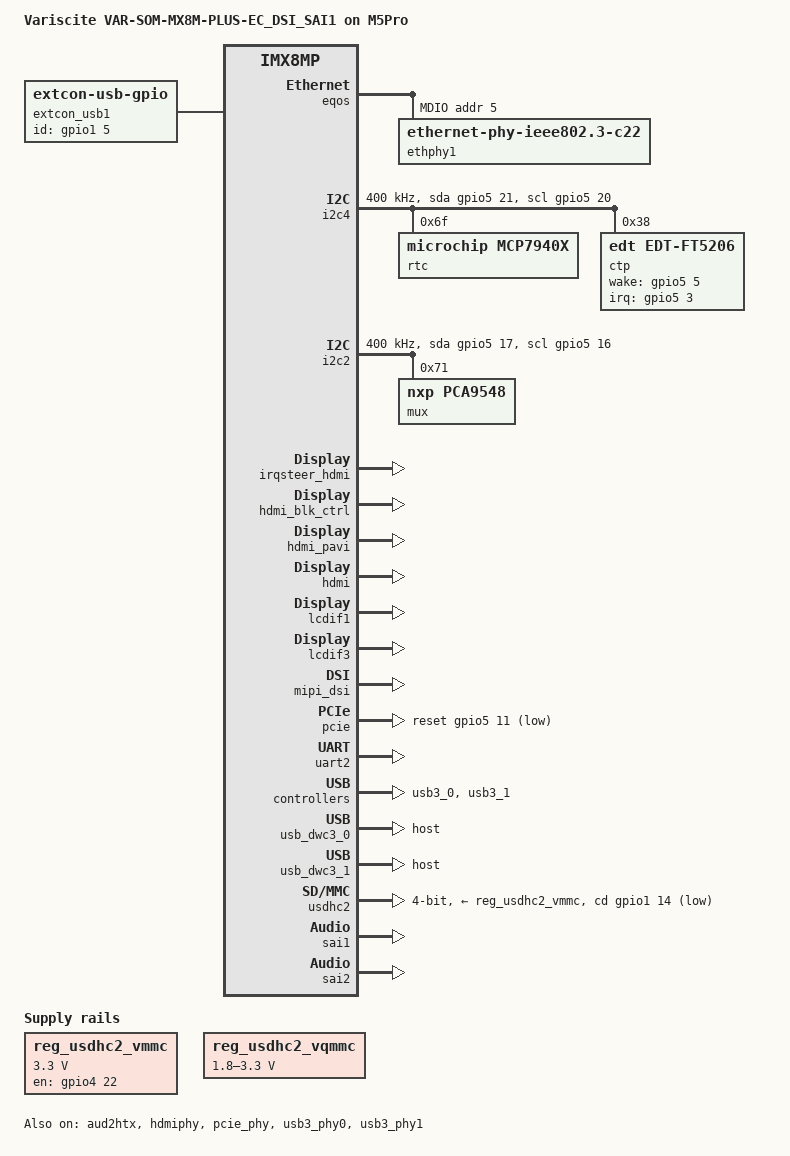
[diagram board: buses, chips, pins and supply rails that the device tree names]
// SPDX-License-Identifier: (GPL-2.0+ OR MIT)
/*
 * Copyright 2019 NXP
 * Copyright 2020-2021 Variscite Ltd.
 */

 #include <dt-bindings/mux/mux.h>
 #include "imx8mp-var-som-ec_dsi_sai1.dtsi"

/ {
	model = "Variscite VAR-SOM-MX8M-PLUS-EC_DSI_SAI1 on M5Pro";

	chosen {
		stdout-path = &uart2;
	};

	reg_usdhc2_vmmc: regulator-usdhc2-vmmc {
		compatible = "regulator-fixed";
		regulator-name = "VSD_3V3";
		regulator-min-microvolt = <3300000>;
		regulator-max-microvolt = <3300000>;
		gpio = <&gpio4 22 GPIO_ACTIVE_HIGH>;
		enable-active-high;
		startup-delay-us = <100>;
		off-on-delay-us = <12000>;
	};

	reg_usdhc2_vqmmc: regulator-usdhc2-vqmmc {
		compatible = "regulator-gpio";
		regulator-name = "VSD_VSEL";
		regulator-min-microvolt = <1800000>;
		regulator-max-microvolt = <3300000>;
		gpio = <&gpio2 12 GPIO_ACTIVE_HIGH>;
		gpios-states = <1>;
		states = <3300000 0
			  1800000 1>;
	};

	sound_hdmi: sound_hdmi {
		compatible = "fsl,imx-audio-cdnhdmi";
		model = "audio-hdmi";
		audio-cpu = <&aud2htx>;
		hdmi-out;
		constraint-rate = <44100>,
				<88200>,
				<176400>,
				<32000>,
				<48000>,
				<96000>,
				<192000>;
		status = "okay";
	};

	dummy_codec1: dummy-codec1 {
		#sound-dai-cells = <0>;
		compatible = "linux,dummy-codec";
		//compatible = "linux,snd-soc-dummy";
		status = "okay";
	};

	dummy_codec2: dummy-codec2 {
		#sound-dai-cells = <0>;
		compatible = "linux,dummy-codec";
		//compatible = "linux,snd-soc-dummy";
		status = "okay";
	};

	sound-dummy-1 {
		compatible = "simple-audio-card";
		simple-audio-card,bitclock-master = <&dailink_master_1>;
		simple-audio-card,format = "i2s";
		simple-audio-card,frame-master = <&dailink_master_1>;
		simple-audio-card,name = "dummy-audio-1";

		simple-audio-card,codec {
			sound-dai = <&dummy_codec1>;
		};

		dailink_master_1: simple-audio-card,cpu {
			sound-dai = <&sai1>;
			dai-tdm-slot-num = <2>;
			dai-tdm-slot-width = <32>;
		};
	};

	sound-dummy-2 {
		compatible = "simple-audio-card";
		simple-audio-card,bitclock-master = <&dailink_master_2>;
		simple-audio-card,format = "i2s";
		simple-audio-card,frame-master = <&dailink_master_2>;
		simple-audio-card,name = "dummy-audio-2";

		simple-audio-card,codec {
			sound-dai = <&dummy_codec2>;
		};

		dailink_master_2: simple-audio-card,cpu {
			sound-dai = <&sai2>;
			dai-tdm-slot-num = <2>;
			dai-tdm-slot-width = <32>;
		};
	};

	extcon_usb1: extcon_usb1 {
		compatible = "linux,extcon-usb-gpio";
		pinctrl-names = "default";
		pinctrl-0 = <&pinctrl_extcon>;
		id-gpio = <&gpio1 5 GPIO_ACTIVE_HIGH>;
		status = "okay";
	};

//	parallel_panel {
//		compatible = "panel-dpi";
//		port {
//			panel_out_bridge: endpoint {
//				remote-endpoint = <&bridge_out_panel>;
//			};
//		};
//		panel-timing {
//			clock-frequency = <31250000>;
//			hactive = <800>;
//			vactive = <480>;
//			hfront-porch = <40>;
//			hback-porch = <86>;
//			hsync-len = <1>;
//			vback-porch = <30>;
//			vfront-porch = <13>;
//			vsync-len = <3>;
//
//			hsync-active = <0>;
//			vsync-active = <0>;
//			de-active = <1>;
//			pixelclk-active = <1>;
//		};
//	};
};

&aud2htx {
	status = "okay";
};

&eqos {
	mdio {
		ethphy1: ethernet-phy@5 {
			compatible = "ethernet-phy-ieee802.3-c22";
			reg = <5>;
			at803x,eee-disabled;
			at803x,vddio-1p8v;
			eee-broken-1000t;
		};
	};
};

//&mipi_dsi {
//		status = "okay";
//
//		port@1 {
//			dsi_out_bridge: endpoint {
//			remote-endpoint = <&bridge_in_dsi>;
//			attach-bridge;
//		};
//	};
//};

&i2c4 {
	clock-frequency = <400000>;
	pinctrl-names = "default";
	pinctrl-0 = <&pinctrl_i2c4>;
	scl-gpios = <&gpio5 20 (GPIO_ACTIVE_HIGH|GPIO_OPEN_DRAIN)>;
	sda-gpios = <&gpio5 21 (GPIO_ACTIVE_HIGH|GPIO_OPEN_DRAIN)>;
	status = "okay";

	/* mcp7940x RTC module */
	rtc@6f {
		compatible = "microchip,mcp7940x";
		microchip,clock-output = <32768>;
		reg = <0x6f>;
		status = "okay";
	};

//	/* Capacitive touch controller */
	ctp: ctp@38 {
		compatible = "edt,edt-ft5206";
		reg = <0x38>;
		pinctrl-names = "default";
		pinctrl-0 = <&pinctrl_ctp>;
		interrupt-parent = <&gpio5>;
		interrupts = <3 IRQ_TYPE_EDGE_FALLING>;
		wake-gpios = <&gpio5 5 GPIO_ACTIVE_HIGH>;
		touchscreen-size-x = <800>;
		touchscreen-size-y = <480>;
		touchscreen-inverted-x;
		touchscreen-inverted-y;
		wakeup-source;
		status = "okay";
	};

//	icn6211@2c {
//		compatible = "chipone,icn6211";
//		reg = <0x2c>;
//		enable-gpios = <&gpio5 27 GPIO_ACTIVE_HIGH>; /* LCD-RST: icn6211 pin 11 */
//		pinctrl-0 = <&pinctrl_icn6211>;
//		status = "okay";
//		ports {
//			#address-cells = <1>;
//			#size-cells = <0>;
//			port@0 {
//				reg = <0>;
//				bridge_in_dsi: endpoint {
//					remote-endpoint = <&dsi_out_bridge>;
//				};
//			};
//			port@1 {
//				reg = <1>;
//				bridge_out_panel: endpoint {
//					remote-endpoint = <&panel_out_bridge>;
//				};
//			};
//		};
//	};

	pi6cfgl601b@69 {
		compatible = "dummy";
		reg = <0x69>;
		status = "okay";
	};
};

&i2c2 {
	clock-frequency = <400000>;
	pinctrl-names = "default";
	pinctrl-0 = <&pinctrl_i2c2>;
	scl-gpios = <&gpio5 16 (GPIO_ACTIVE_HIGH|GPIO_OPEN_DRAIN)>;
	sda-gpios = <&gpio5 17 (GPIO_ACTIVE_HIGH|GPIO_OPEN_DRAIN)>;
	status = "okay";

	mfi@10 {
		compatible = "dummy";
		reg = <0x10>;
		status = "okay";
	};

	mux@71 {
		compatible = "nxp,pca9548";
		reg = <0x71>;
		#address-cells = <1>;
		#size-cells = <0>;
		idle-state =  <MUX_IDLE_AS_IS>;

		i2c@0 {
			#address-cells = <1>;
			#size-cells = <0>;
			reg = <0>;

			o1_es9033: es9033@48 {
				compatible = "dummy";
				reg = <0x48>;
				status = "okay";
			};

			o1_es9033_sync: es9033@4c {  // before es9033 has clock initialized, _sync address must be used for write-only initialization of clock registers
				compatible = "dummy";
				reg = <0x4c>;
				status = "okay";
			};

			o1_src4392: src4392@70 {
				compatible = "dummy";
				reg = <0x70>;
				status = "okay";
			};
		};

		i2c@1 {
			#address-cells = <1>;
			#size-cells = <0>;
			reg = <1>;

			o2_es9033: es9033@48 {
				compatible = "dummy";
				reg = <0x48>;
				status = "okay";
			};

			o2_es9033_sync: es9033@4c {  // before es9033 has clock initialized, _sync address must be used for write-only initialization of clock registers
				compatible = "dummy";
				reg = <0x4c>;
				status = "okay";
			};

			o2_src4392: src4392@70 {
				compatible = "dummy";
				reg = <0x70>;
				status = "okay";
			};
		};

		i2c@2 {
			#address-cells = <1>;
			#size-cells = <0>;
			reg = <2>;

			o3_es9033: es9033@48 {
				compatible = "dummy";
				reg = <0x48>;
				status = "okay";
			};

			o3_es9033_sync: es9033@4c {  // before es9033 has clock initialized, _sync address must be used for write-only initialization of clock registers
				compatible = "dummy";
				reg = <0x4c>;
				status = "okay";
			};

			o3_src4392: src4392@70 {
				compatible = "dummy";
				reg = <0x70>;
				status = "okay";
			};
		};

		i2c@3 {
			#address-cells = <1>;
			#size-cells = <0>;
			reg = <3>;

			o4_es9033: es9033@48 {
				compatible = "dummy";
				reg = <0x48>;
				status = "okay";
			};

			o4_es9033_sync: es9033@4c {  // before es9033 has clock initialized, _sync address must be used for write-only initialization of clock registers
				compatible = "dummy";
				reg = <0x4c>;
				status = "okay";
			};

			o4_src4392: src4392@70 {
				compatible = "dummy";
				reg = <0x70>;
				status = "okay";
			};
		};

		i2c@4 {
			#address-cells = <1>;
			#size-cells = <0>;
			reg = <4>;

			o5_es9033: es9033@48 {
				compatible = "dummy";
				reg = <0x48>;
				status = "okay";
			};

			o5_es9033_sync: es9033@4c {  // before es9033 has clock initialized, _sync address must be used for write-only initialization of clock registers
				compatible = "dummy";
				reg = <0x4c>;
				status = "okay";
			};

			o5_src4392: src4392@70 {
				compatible = "dummy";
				reg = <0x70>;
				status = "okay";
			};
		};

		i2c@5 {
			#address-cells = <1>;
			#size-cells = <0>;
			reg = <5>;

			i1_es9820: es9820@20 {
				compatible = "dummy";
				reg = <0x20>;
				status = "okay";
			};

			i1_es9820_sync: es9820@24 {  // before es9820 has clock initialized, _sync address must be used for write-only initialization of clock registers
				compatible = "dummy";
				reg = <0x24>;
				status = "okay";
			};

			i2_es9820: es9820@21 {
				compatible = "dummy";
				reg = <0x21>;
				status = "okay";
			};

			i2_es9820_sync: es9820@25 {  // before es9820 has clock initialized, _sync address must be used for write-only initialization of clock registers
				compatible = "dummy";
				reg = <0x25>;
				status = "okay";
			};
		};

		i2c@6 {
			#address-cells = <1>;
			#size-cells = <0>;
			reg = <6>;

			i3_src4392: src4392@70 {
				compatible = "dummy";
				reg = <0x70>;
				status = "okay";
			};
		};

		i2c@7 {
			#address-cells = <1>;
			#size-cells = <0>;
			reg = <7>;

			i4_src4392: src4392@70 {
				compatible = "dummy";
				reg = <0x70>;
				status = "okay";
			};
		};
	};
};

&irqsteer_hdmi {
	status = "okay";
};

&hdmi_blk_ctrl {
	status = "okay";
};

&hdmi_pavi {
	status = "okay";
};

&hdmi {
	status = "okay";
};

&hdmiphy {
	status = "okay";
};

/* MIPI-DSI */
&lcdif1 {
	status = "okay";
};

/* HDMI */
&lcdif3 {
	status = "okay";
	thres-low  = <1 2>;	/* (FIFO * 1 / 2) */
	thres-high = <3 4>;	/* (FIFO * 3 / 4) */
};

&mipi_dsi {
	status = "okay";
};

&pcie {
	pinctrl-names = "default";
	pinctrl-0 = <&pinctrl_pcie>;
	reset-gpio = <&gpio5 11 GPIO_ACTIVE_LOW>;
	ext_osc = <1>;
	clocks = <&clk IMX8MP_CLK_HSIO_ROOT>,
		 <&clk IMX8MP_CLK_PCIE_AUX>,
		 <&clk IMX8MP_CLK_HSIO_AXI>,
		 <&clk IMX8MP_CLK_PCIE_ROOT>;
	clock-names = "pcie", "pcie_aux", "pcie_phy", "pcie_bus";
	assigned-clocks = <&clk IMX8MP_CLK_HSIO_AXI>,
			  <&clk IMX8MP_CLK_PCIE_AUX>;
	assigned-clock-rates = <500000000>, <10000000>;
	assigned-clock-parents = <&clk IMX8MP_SYS_PLL2_500M>,
				 <&clk IMX8MP_SYS_PLL2_50M>;
	l1ss-disabled;
	status = "okay";
};

&pcie_ep {
	pinctrl-names = "default";
	pinctrl-0 = <&pinctrl_pcie>;
	ext_osc = <1>;
	clocks = <&clk IMX8MP_CLK_HSIO_ROOT>,
		 <&clk IMX8MP_CLK_PCIE_AUX>,
		 <&clk IMX8MP_CLK_HSIO_AXI>,
		 <&clk IMX8MP_CLK_PCIE_ROOT>;
	clock-names = "pcie", "pcie_aux", "pcie_phy", "pcie_bus";
	assigned-clocks = <&clk IMX8MP_CLK_HSIO_AXI>,
			  <&clk IMX8MP_CLK_PCIE_AUX>;
	assigned-clock-rates = <500000000>, <10000000>;
	assigned-clock-parents = <&clk IMX8MP_SYS_PLL2_500M>,
				 <&clk IMX8MP_SYS_PLL2_50M>;
	status = "disabled";
};

&pcie_phy {
	ext_osc = <1>;
	status = "okay";
};

/* Console */
&uart2 {
	pinctrl-names = "default";
	pinctrl-0 = <&pinctrl_uart2>;
	status = "okay";
};

&usb3_phy0 {
//	fsl,phy-tx-vref-tune = <0xe>;
//	fsl,phy-tx-preemp-amp-tune = <3>;
//	fsl,phy-tx-vboost-level = <5>;
//	fsl,phy-comp-dis-tune = <7>;
//	fsl,pcs-tx-deemph-3p5db = <0x21>;
//	fsl,phy-pcs-tx-swing-full = <0x7f>;
	status = "okay";
};

&usb3_0 {
	status = "okay";
};

&usb_dwc3_0 {
	dr_mode = "host";
//	dr_mode = "otg";
//	hnp-disable;
//	srp-disable;
//	adp-disable;
	extcon = <&extcon_usb1>;
	status = "okay";
};

&usb3_phy1 {
//	fsl,phy-tx-preemp-amp-tune = <3>;
//	fsl,phy-tx-vref-tune = <0xb>;
	status = "okay";
};

&usb3_1 {
	status = "okay";
};

&usb_dwc3_1 {
	dr_mode = "host";
	status = "okay";
};

&usdhc2 {
	pinctrl-names = "default", "state_100mhz", "state_200mhz";
	pinctrl-0 = <&pinctrl_usdhc2>, <&pinctrl_usdhc2_gpio>;
	pinctrl-1 = <&pinctrl_usdhc2_100mhz>, <&pinctrl_usdhc2_gpio>;
	pinctrl-2 = <&pinctrl_usdhc2_200mhz>, <&pinctrl_usdhc2_gpio>;
	cd-gpios = <&gpio1 14 GPIO_ACTIVE_LOW>;
	vmmc-supply = <&reg_usdhc2_vmmc>;
	vqmmc-supply = <&reg_usdhc2_vqmmc>;
	bus-width = <4>;
	status = "okay";
};

&sai1 {
	#sound-dai-cells = <0>;
	pinctrl-names = "default";
	pinctrl-0 = <&pinctrl_sai1>;
	assigned-clocks = <&clk IMX8MP_CLK_SAI1>;
	assigned-clock-parents = <&clk IMX8MP_AUDIO_PLL1_OUT>;
	assigned-clock-rates = <24576000>;
	clocks = 
		 <&audio_blk_ctrl IMX8MP_CLK_AUDIO_BLK_CTRL_SAI1_IPG>, 
		 <&clk IMX8MP_CLK_DUMMY>,
		 <&audio_blk_ctrl IMX8MP_CLK_AUDIO_BLK_CTRL_SAI1_MCLK1>, 
		 <&clk IMX8MP_CLK_DUMMY>,
		 <&clk IMX8MP_CLK_DUMMY>,
		 <&clk IMX8MP_AUDIO_PLL1_OUT>,
		 <&clk IMX8MP_AUDIO_PLL2_OUT>;
	clock-names = "bus", "mclk0", "mclk1", "mclk2", "mclk3", "pll8k", "pll11k";
	fsl,sai-asynchronous;
	fsl,sai-multi-lane;
	fsl,dataline = <0 0xff 0xff>;
	dmas = <&sdma2 0 25 0>, <&sdma2 1 25 0>;
	status = "okay";
};

&sai2 {
	#sound-dai-cells = <0>;
	pinctrl-names = "default";
	pinctrl-0 = <&pinctrl_sai2>;
	assigned-clocks = <&clk IMX8MP_CLK_SAI2>;
	assigned-clock-parents = <&clk IMX8MP_AUDIO_PLL1_OUT>;
	assigned-clock-rates = <24576000>;
	clocks = 
		 <&audio_blk_ctrl IMX8MP_CLK_AUDIO_BLK_CTRL_SAI2_IPG>, 
		 <&clk IMX8MP_CLK_DUMMY>,
		 <&clk IMX8MP_CLK_DUMMY>,
		 <&audio_blk_ctrl IMX8MP_CLK_AUDIO_BLK_CTRL_SAI2_MCLK1>, 
		 <&clk IMX8MP_CLK_DUMMY>,
		 <&clk IMX8MP_AUDIO_PLL1_OUT>,
		 <&clk IMX8MP_AUDIO_PLL2_OUT>;
	clock-names = "bus", "mclk0", "mclk1", "mclk2", "mclk3", "pll8k", "pll11k";
	fsl,sai-asynchronous;
	status = "okay";
};

&gpio1 {
	gpio-line-names = 
		"",                      // 000 GPIO1_IO00
		"",                      // 001 GPIO1_IO01
		"WDOG_B",                // 002 GPIO1_IO02
		"",                      // 003 GPIO1_IO03
		"",                      // 004 GPIO1_IO04
		"",                      // 005 GPIO1_IO05
		"",                      // 006 GPIO1_IO06
		"",                      // 007 GPIO1_IO07
		"",                      // 008 GPIO1_IO08
		"",                      // 009 GPIO1_IO09
		"EQOS_RESET",            // 010 GPIO1_IO10
		"factory_n",             // 011 GPIO1_IO11 (pin 69)
		"",                      // 012 GPIO1_IO12
		"",                      // 013 GPIO1_IO13
		"USDHC2_CD",             // 014 GPIO1_IO14 (pin 80)
		"SDRESET_N",             // 015 GPIO1_IO15 (pin 29)
		"ENET_MDC",              // 016 GPIO1_IO16 (pin 74)
		"ENET_MDIO" ,            // 017 GPIO1_IO17 (pin 30)
		"ENET_TD3",              // 018 GPIO1_IO18
		"ENET_TD2",              // 019 GPIO1_IO19
		"ENET_TD1",              // 020 GPIO1_IO20
		"ENET_TD0",              // 021 GPIO1_IO21
		"ENET_TX_CTL",           // 022 GPIO1_IO22
		"ENET_TX_CLK",           // 023 GPIO1_IO23
		"ENET_RX_CTL",           // 024 GPIO1_IO24
		"ENET_RX_CLK",           // 025 GPIO1_IO25
		"ENET_RD0",              // 026 GPIO1_IO26
		"ENET_RD1",              // 027 GPIO1_IO27
		"ENET_RD2",              // 028 GPIO1_IO28
		"ENET_RD3",              // 029 GPIO1_IO29
		"",                      // 030 GPIO1_IO30
		"";                      // 031 GPIO1_IO31
};
&gpio2 {
	gpio-line-names = 
		"",                      // 032 GPIO2_IO00
		"",                      // 033 GPIO2_IO01
		"",                      // 034 GPIO2_IO02
		"",                      // 035 GPIO2_IO03
		"",                      // 036 GPIO2_IO04
		"",                      // 037 GPIO2_IO05
		"",                      // 038 GPIO2_IO06
		"",                      // 039 GPIO2_IO07
		"",                      // 040 GPIO2_IO08
		"",                      // 041 GPIO2_IO09
		"",                      // 042 GPIO2_IO10
		"",                      // 043 GPIO2_IO11
		"",                      // 044 GPIO2_IO12
		"USDHC2_CLK",            // 045 GPIO2_IO13 (pin 60)
		"USDHC2_CMD",            // 046 GPIO2_IO14 (pin 64)
		"USDHC2_D0",             // 047 GPIO2_IO15 (pin 62)
		"USDHC2_D1",             // 048 GPIO2_IO16 (pin 63)
		"USDHC2_D2",             // 049 GPIO2_IO17 (pin 61)
		"USDHC2_D3",             // 050 GPIO2_IO18 (pin 65)
		"",                      // 051 GPIO2_IO19
		"REG_EQOS",              // 052 GPIO2_IO20
		"",                      // 053 GPIO2_IO21
		"",                      // 054 GPIO2_IO22
		"",                      // 055 GPIO2_IO23
		"",                      // 056 GPIO2_IO24
		"",                      // 057 GPIO2_IO25
		"",                      // 058 GPIO2_IO26
		"",                      // 059 GPIO2_IO27
		"",                      // 060 GPIO2_IO28
		"",                      // 061 GPIO2_IO29
		"",                      // 062 GPIO2_IO30
		"";                      // 063 GPIO2_IO31
};
&gpio3 {
	gpio-line-names = 
		"",                      // 064 GPIO3_IO00
		"",                      // 065 GPIO3_IO01
		"USDHC3_STR",            // 066 GPIO3_IO02
		"USDHC3_D5",             // 067 GPIO3_IO03
		"USDHC3_D6",             // 068 GPIO3_IO04
		"USDHC3_D7",             // 069 GPIO3_IO05
		"",                      // 070 GPIO3_IO06 (pin 84)
		"",                      // 071 GPIO3_IO07
		"",                      // 072 GPIO3_IO08
		"",                      // 073 GPIO3_IO09
		"USDHC3_D0",             // 074 GPIO3_IO10
		"USDHC3_D1",             // 075 GPIO3_IO11
		"USDHC3_D2",             // 076 GPIO3_IO12
		"USDHC3_D3",             // 077 GPIO3_IO13
		"",                      // 078 GPIO3_IO14 (pin 79)
		"USDHC3_D4",             // 079 GPIO3_IO15
		"",                      // 080 GPIO3_IO16
		"USDHC3_CLK",            // 081 GPIO3_IO17
		"USDHC3_CMD",            // 082 GPIO3_IO18
		"",                      // 083 GPIO3_IO19
		"",                      // 084 GPIO3_IO20
		"",                      // 085 GPIO3_IO21
		"",                      // 086 GPIO3_IO22
		"",                      // 087 GPIO3_IO23
		"",                      // 088 GPIO3_IO24
		"",                      // 089 GPIO3_IO25
		"HDMI_SCL",              // 090 GPIO3_IO26 (pin 174)
		"HDMI_SDA",              // 091 GPIO3_IO27 (pin 176)
		"HDMI_CEC",              // 092 GPIO3_IO28 (pin 156)
		"HDMI_HPD",              // 093 GPIO3_IO29 (pin 154)
		"",                      // 094 GPIO3_IO30
		"";                      // 095 GPIO3_IO31
};
&gpio4 {
	gpio-line-names= 
		"SAI1_RX_SYNC",          // 096 GPIO4_IO00 (pin 82)
		"SAI1_RX_BCLK",          // 097 GPIO4_IO01 (pin 86)
		"SAI1_RX_D00",           // 098 GPIO4_IO02 (pin 70)
		"SAI1_RX_D01",           // 099 GPIO4_IO03 (pin 117)
		"SAI1_RX_D02",           // 100 GPIO4_IO04 (pin 72)
		"SAI1_RX_D03",           // 101 GPIO4_IO05 (pin 75)
		"",                      // 102 GPIO4_IO06 (pin 122)
		"",                      // 103 GPIO4_IO07 (pin 81)
		"",                      // 104 GPIO4_IO08 (pin 71)
		"",                      // 105 GPIO4_IO09 (pin 54)
		"SAI1_TX_SYNC",          // 106 GPIO4_IO10 (pin 120)
		"SAI1_TX_BCLK",          // 107 GPIO4_IO11 (pin 57)
		"SAI1_TX_D00",           // 108 GPIO4_IO12 (pin 73)
		"SAI1_TX_D01",           // 109 GPIO4_IO13 (pin 177)
		"SAI1_TX_D02",           // 110 GPIO4_IO14 (pin 56)
		"SAI1_TX_D03",           // 111 GPIO4_IO15 (pin 55)
		"SAI1_TX_D04",           // 112 GPIO4_IO16 (pin 113)
		"",                      // 113 GPIO4_IO17 (pin 96)
		"",                      // 114 GPIO4_IO18 (pin 77)
		"",                      // 115 GPIO4_IO19 (pin 173)
		"SAI1_MCLK",             // 116 GPIO4_IO20 (pin 40)
		"",                      // 117 GPIO4_IO21 (pin 23)
		"",                      // 118 GPIO4_IO22 (pin 22)
		"",                      // 119 GPIO4_IO23 (pin 21)
		"SAI2_TX_SYNC",          // 120 GPIO4_IO24 (pin 24)
		"SAI2_TX_BCLK",          // 121 GPIO4_IO25 (pin 25)
		"SAI2_TX_D00",           // 122 GPIO4_IO26 (pin 26)
		"SAI2_MCLK",             // 123 GPIO4_IO27 (pin 48)
		"trigin1_n",             // 124 GPIO4_IO28 (pin 196)
		"trigin2_n",             // 125 GPIO4_IO29 (pin 197)
		"trigin3_n",             // 126 GPIO4_IO30 (pin 198)
		"trigin4_n";             // 127 GPIO4_IO31 (pin 199)
};
&gpio5 {
	gpio-line-names = 
		"trigout1",              // 128 GPIO5_IO00 (pin 200)
		"trigout2",              // 129 GPIO5_IO01 (pin 18)
		"trigout3",              // 130 GPIO5_IO02 (pin 20)
		"CTPINT",                // 131 GPIO5_IO03 (pin 68)
		"PMIC_INT",              // 132 GPIO5_IO04
		"CTPWAKE",               // 133 GPIO5_IO05 (pin 17)
		"hwid0",                 // 134 GPIO5_IO06 (pin 53)
		"hwid1",                 // 135 GPIO5_IO07 (pin 52)
		"hwid2",                 // 136 GPIO5_IO08 (pin 50)
		"hwid3",                 // 137 GPIO5_IO09 (pin 51)
		"swoff",                 // 138 GPIO5_IO10 (pin 43)
		"PCIERST_N",             // 139 GPIO5_IO11 (pin 45)
		"bootcompl",             // 140 GPIO5_IO12 (pin 41)
		"pwrled",                // 141 GPIO5_IO13 (pin 39)
		"I2C1_SCL",              // 142 GPIO5_IO14 (pin 189)
		"I2C1_SDA",              // 143 GPIO5_IO15 (pin 187)
		"I2C2_SCL",              // 144 GPIO5_IO16 (pin 193)
		"I2C2_SDA",              // 145 GPIO5_IO17 (pin 191)
		"",                      // 146 GPIO5_IO18 (pin 88)
		"",                      // 147 GPIO5_IO19 (pin 87)
		"I2C4_SCL",              // 148 GPIO5_IO20 (pin 92)
		"I2C4_SDA",              // 149 GPIO5_IO21 (pin 90)
		"hwrev0",                // 150 GPIO5_IO22 (pin 175)
		"hwrev1",                // 151 GPIO5_IO23 (pin 124)
		"UART2_RX",              // 152 GPIO5_IO24 (pin 83)
		"UART2_TX",              // 153 GPIO5_IO25 (pin 85)
		"pwroff",                // 154 GPIO5_IO26 (pin 44)
		"ICN6211_EN",            // 155 GPIO5_IO27 (pin 46)
		"trigout4",              // 156 GPIO5_IO28 (pin 115)
		"trigout5",              // 157 GPIO5_IO29 (pin 171)
		"",                      // 158 GPIO5_IO30
		"";                      // 159 GPIO5_IO31
};

&iomuxc {
	pinctrl-names = "default";
	pinctrl-0 = <&pinctrl_hog>;

	pinctrl_hog: hoggrp {
		fsl,pins = <
			MX8MP_IOMUXC_HDMI_DDC_SCL__HDMIMIX_HDMI_SCL			0x400001c2
			MX8MP_IOMUXC_HDMI_DDC_SDA__HDMIMIX_HDMI_SDA			0x400001c2
			MX8MP_IOMUXC_HDMI_HPD__HDMIMIX_HDMI_HPD				0x40000010
			MX8MP_IOMUXC_HDMI_CEC__HDMIMIX_HDMI_CEC				0x40000010


			MX8MP_IOMUXC_GPIO1_IO11__GPIO1_IO11					0x00

			MX8MP_IOMUXC_SAI3_RXFS__GPIO4_IO28					0x00
			MX8MP_IOMUXC_SAI3_RXC__GPIO4_IO29					0x00
			MX8MP_IOMUXC_SAI3_RXD__GPIO4_IO30					0x00
			MX8MP_IOMUXC_SAI3_TXFS__GPIO4_IO31					0x00

			MX8MP_IOMUXC_SAI3_TXC__GPIO5_IO00					0xc6
			MX8MP_IOMUXC_SAI3_TXD__GPIO5_IO01					0xc6
			MX8MP_IOMUXC_SAI3_MCLK__GPIO5_IO02					0xc6
			MX8MP_IOMUXC_ECSPI1_SCLK__GPIO5_IO06				0x00
			MX8MP_IOMUXC_ECSPI1_MOSI__GPIO5_IO07				0x00
			MX8MP_IOMUXC_ECSPI1_MISO__GPIO5_IO08				0x00
			MX8MP_IOMUXC_ECSPI1_SS0__GPIO5_IO09					0x00
			MX8MP_IOMUXC_ECSPI2_SCLK__GPIO5_IO10				0x00
			MX8MP_IOMUXC_ECSPI2_MISO__GPIO5_IO12				0xc6
			MX8MP_IOMUXC_ECSPI2_SS0__GPIO5_IO13					0xc6
			MX8MP_IOMUXC_UART1_RXD__GPIO5_IO22					0x00
			MX8MP_IOMUXC_UART1_TXD__GPIO5_IO23					0x00
			MX8MP_IOMUXC_UART4_RXD__GPIO5_IO28					0xc6
			MX8MP_IOMUXC_UART4_TXD__GPIO5_IO29					0xc6

			MX8MP_IOMUXC_I2C3_SCL__GPIO5_IO18					0x1c2
			MX8MP_IOMUXC_I2C3_SDA__GPIO5_IO19					0x1c2
		>;
	};

	pinctrl_i2c4: i2c4grp {
		fsl,pins = <
			MX8MP_IOMUXC_I2C4_SCL__I2C4_SCL						0x400001c2
			MX8MP_IOMUXC_I2C4_SDA__I2C4_SDA						0x400001c2
		>;
	};

	pinctrl_i2c2: i2c2grp {
		fsl,pins = <
			MX8MP_IOMUXC_I2C2_SCL__I2C2_SCL						0x400001c2
			MX8MP_IOMUXC_I2C2_SDA__I2C2_SDA						0x400001c2
		>;
	};

	pinctrl_uart2: uart2grp {
		fsl,pins = <
			MX8MP_IOMUXC_UART2_RXD__UART2_DCE_RX				0x40
			MX8MP_IOMUXC_UART2_TXD__UART2_DCE_TX				0x40
		>;
	};

	pinctrl_usdhc2_gpio: usdhc2grp-gpio {
		fsl,pins = <
			MX8MP_IOMUXC_GPIO1_IO14__GPIO1_IO14 				0x1c4
			MX8MP_IOMUXC_GPIO1_IO15__GPIO1_IO15					0x10
			MX8MP_IOMUXC_SD2_CD_B__GPIO2_IO12					0xc0
		>;
	};

	pinctrl_usdhc2: usdhc2grp {
		fsl,pins = <
			MX8MP_IOMUXC_SD2_CLK__USDHC2_CLK					0x190
			MX8MP_IOMUXC_SD2_CMD__USDHC2_CMD					0x1d0
			MX8MP_IOMUXC_SD2_DATA0__USDHC2_DATA0				0x1d0
			MX8MP_IOMUXC_SD2_DATA1__USDHC2_DATA1				0x1d0
			MX8MP_IOMUXC_SD2_DATA2__USDHC2_DATA2				0x1d0
			MX8MP_IOMUXC_SD2_DATA3__USDHC2_DATA3				0x1d0
		>;
	};

	pinctrl_usdhc2_100mhz: usdhc2grp-100mhz {
		fsl,pins = <
			MX8MP_IOMUXC_SD2_CLK__USDHC2_CLK					0x194
			MX8MP_IOMUXC_SD2_CMD__USDHC2_CMD					0x1d4
			MX8MP_IOMUXC_SD2_DATA0__USDHC2_DATA0				0x1d4
			MX8MP_IOMUXC_SD2_DATA1__USDHC2_DATA1				0x1d4
			MX8MP_IOMUXC_SD2_DATA2__USDHC2_DATA2				0x1d4
			MX8MP_IOMUXC_SD2_DATA3__USDHC2_DATA3				0x1d4
		>;
	};

	pinctrl_usdhc2_200mhz: usdhc2grp-200mhz {
		fsl,pins = <
			MX8MP_IOMUXC_SD2_CLK__USDHC2_CLK					0x196
			MX8MP_IOMUXC_SD2_CMD__USDHC2_CMD					0x1d6
			MX8MP_IOMUXC_SD2_DATA0__USDHC2_DATA0				0x1d6
			MX8MP_IOMUXC_SD2_DATA1__USDHC2_DATA1				0x1d6
			MX8MP_IOMUXC_SD2_DATA2__USDHC2_DATA2				0x1d6
			MX8MP_IOMUXC_SD2_DATA3__USDHC2_DATA3				0x1d6
		>;
	};

	pinctrl_ctp: ctpgrp {
		fsl,pins = <
			MX8MP_IOMUXC_SPDIF_TX__GPIO5_IO03 					0x16
			MX8MP_IOMUXC_SPDIF_EXT_CLK__GPIO5_IO05          	0x01
		>;
	};

	pinctrl_pcie: pciegrp {
		fsl,pins = <
			MX8MP_IOMUXC_ECSPI2_MOSI__GPIO5_IO11				0x40
		>;
	};
	pinctrl_sai1: sai1grp {
		fsl,pins = <
			MX8MP_IOMUXC_SAI1_MCLK__AUDIOMIX_SAI1_MCLK			0xd6
			MX8MP_IOMUXC_SAI1_RXFS__AUDIOMIX_SAI1_RX_SYNC		0xd6
			MX8MP_IOMUXC_SAI1_RXC__AUDIOMIX_SAI1_RX_BCLK		0xd6
			MX8MP_IOMUXC_SAI1_RXD0__AUDIOMIX_SAI1_RX_DATA00		0xd6
			MX8MP_IOMUXC_SAI1_RXD1__AUDIOMIX_SAI1_RX_DATA01		0xd6
			MX8MP_IOMUXC_SAI1_RXD2__AUDIOMIX_SAI1_RX_DATA02		0xd6
			MX8MP_IOMUXC_SAI1_RXD3__AUDIOMIX_SAI1_RX_DATA03		0xd6
			MX8MP_IOMUXC_SAI1_TXFS__AUDIOMIX_SAI1_TX_SYNC		0xd6
			MX8MP_IOMUXC_SAI1_TXC__AUDIOMIX_SAI1_TX_BCLK		0xd6
			MX8MP_IOMUXC_SAI1_TXD0__AUDIOMIX_SAI1_TX_DATA00		0xd6
			MX8MP_IOMUXC_SAI1_TXD1__AUDIOMIX_SAI1_TX_DATA01		0xd6
			MX8MP_IOMUXC_SAI1_TXD2__AUDIOMIX_SAI1_TX_DATA02		0xd6
			MX8MP_IOMUXC_SAI1_TXD3__AUDIOMIX_SAI1_TX_DATA03		0xd6
			MX8MP_IOMUXC_SAI1_TXD4__AUDIOMIX_SAI1_TX_DATA04		0xd6
		>;
	};

	pinctrl_sai2: sai2grp {
		fsl,pins = <
			MX8MP_IOMUXC_SAI2_MCLK__AUDIOMIX_SAI2_MCLK			0xd6
			MX8MP_IOMUXC_SAI2_TXFS__AUDIOMIX_SAI2_TX_SYNC		0xd6
			MX8MP_IOMUXC_SAI2_TXC__AUDIOMIX_SAI2_TX_BCLK		0xd6
			MX8MP_IOMUXC_SAI2_TXD0__AUDIOMIX_SAI2_TX_DATA00		0xd6
		>;
	};

	pinctrl_extcon: extcongrp {
		fsl,pins = <
			MX8MP_IOMUXC_GPIO1_IO05__GPIO1_IO05				0x10
		>;
	};

//	pinctrl_icn6211: icn6211grp {
//		fsl,pins = <
//			MX8MP_IOMUXC_UART3_TXD__GPIO5_IO27          		0x01
//		>;
//	};

};
